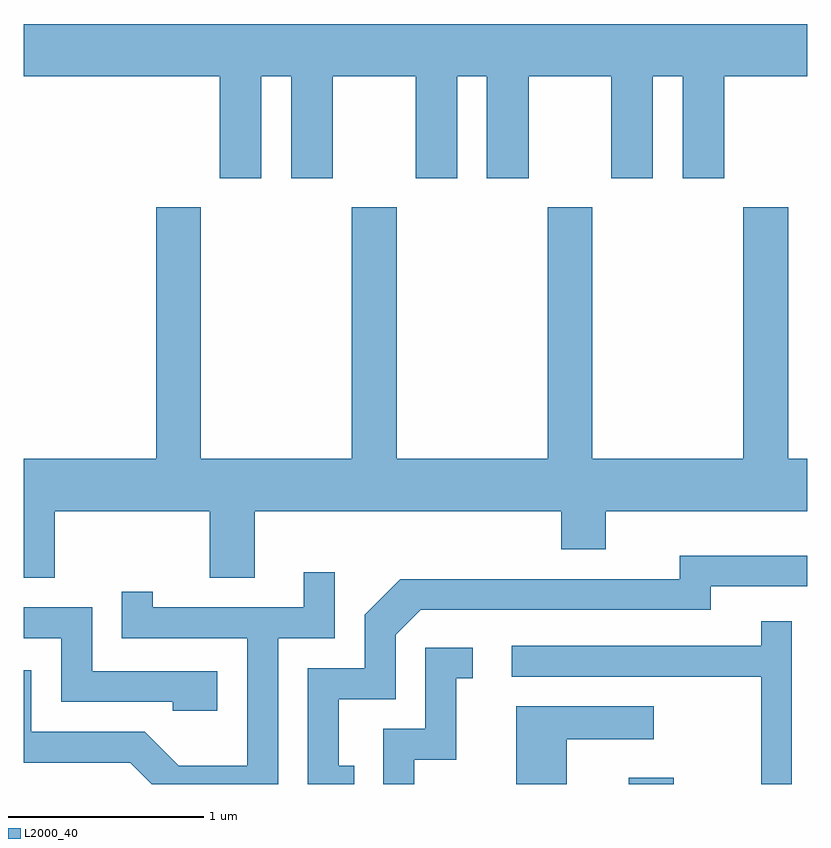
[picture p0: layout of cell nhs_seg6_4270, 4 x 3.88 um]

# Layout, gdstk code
import gdstk
lib = gdstk.Library(unit=1e-6, precision=1e-09)
def R(c, l, rs):  # rectangles x0, y0, x1, y1
    for r in rs: c.add(gdstk.rectangle(r[:2], r[2:], *l))
def P(c, l, *ps):  # polygons
    for p in ps: c.add(gdstk.Polygon(p, *l))
L2000_40 = (2000, 40)

nhs_seg6_4270 = lib.new_cell('nhs_seg6_4270')
R(nhs_seg6_4270, L2000_40, [(318.701,1584.162,318.929,1584.194)])
P(nhs_seg6_4270, L2000_40, [(316.824,1587.776),(316.976,1587.776),(316.976,1587.256),(317.189,1587.256),(317.189,1587.776),(317.611,1587.776),(317.611,1587.256),(317.824,1587.256),(317.824,1587.776),(317.976,1587.776),(317.976,1587.256),(318.189,1587.256),(318.189,1587.776),(318.611,1587.776),(318.611,1587.256),(318.824,1587.256),(318.824,1587.776),(318.976,1587.776),(318.976,1587.256),(319.189,1587.256),(319.189,1587.776),(319.611,1587.776),(319.611,1588.044),(315.611,1588.044),(315.611,1587.776),(316.611,1587.776),(316.611,1587.256),(316.824,1587.256)],
  [(315.769,1585.556),(316.561,1585.556),(316.561,1585.216),(316.789,1585.216),(316.789,1585.556),(318.356,1585.556),(318.356,1585.361),(318.584,1585.361),(318.584,1585.556),(319.611,1585.556),(319.611,1585.824),(319.514,1585.824),(319.514,1587.109),(319.286,1587.109),(319.286,1585.824),(318.514,1585.824),(318.514,1587.109),(318.286,1587.109),(318.286,1585.824),(317.514,1585.824),(317.514,1587.109),(317.286,1587.109),(317.286,1585.824),(316.514,1585.824),(316.514,1587.109),(316.286,1587.109),(316.286,1585.824),(315.611,1585.824),(315.611,1585.216),(315.769,1585.216)],
  [(317.298,1584.254),(317.219,1584.254),(317.219,1584.596),(317.509,1584.596),(317.509,1584.924),(317.637,1585.051),(319.119,1585.051),(319.119,1585.171),(319.611,1585.171),(319.611,1585.329),(318.961,1585.329),(318.961,1585.209),(317.534,1585.209),(317.351,1585.027),(317.351,1584.754),(317.061,1584.754),(317.061,1584.162),(317.298,1584.162)],
  [(316.909,1584.906),(317.199,1584.906),(317.199,1585.243),(317.041,1585.243),(317.041,1585.064),(316.269,1585.064),(316.269,1585.143),(316.111,1585.143),(316.111,1584.906),(316.751,1584.906),(316.751,1584.254),(316.402,1584.254),(316.227,1584.429),(315.649,1584.429),(315.649,1584.744),(315.611,1584.744),(315.611,1584.271),(316.154,1584.271),(316.263,1584.162),(316.909,1584.162)],
  [(316.599,1584.739),(315.959,1584.739),(315.959,1585.064),(315.611,1585.064),(315.611,1584.906),(315.801,1584.906),(315.801,1584.581),(316.371,1584.581),(316.371,1584.536),(316.599,1584.536)],
  [(319.534,1584.993),(319.376,1584.993),(319.376,1584.869),(318.103,1584.869),(318.103,1584.711),(319.376,1584.711),(319.376,1584.162),(319.534,1584.162)],
  [(317.604,1584.286),(317.819,1584.286),(317.819,1584.701),(317.903,1584.701),(317.903,1584.859),(317.661,1584.859),(317.661,1584.444),(317.446,1584.444),(317.446,1584.162),(317.604,1584.162)],
  [(318.384,1584.391),(318.828,1584.391),(318.828,1584.559),(318.126,1584.559),(318.126,1584.162),(318.384,1584.162)])

lib.write_gds('nhs_seg6_4270.gds')
